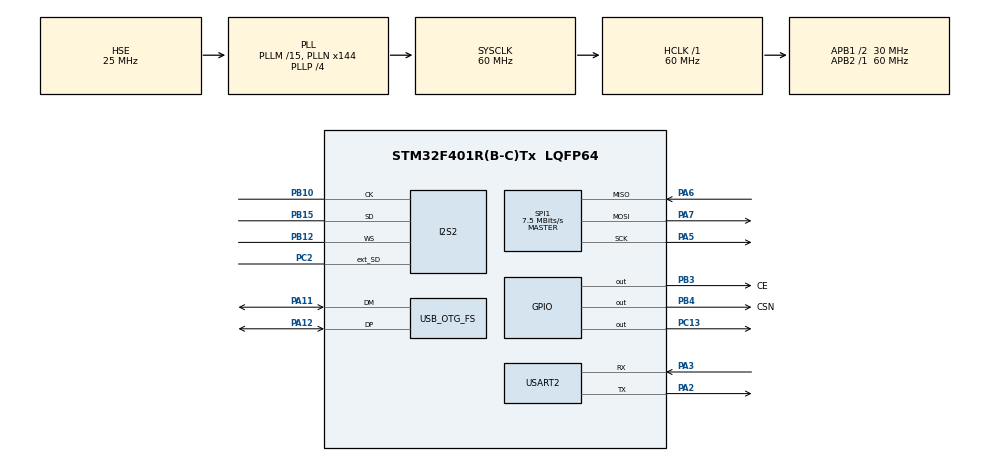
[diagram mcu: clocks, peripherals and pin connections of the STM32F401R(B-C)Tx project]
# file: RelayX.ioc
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Dma.Request0=USART2_TX
Dma.Request1=SPI2_RX
Dma.SPI2_RX.1.Direction=DMA_PERIPH_TO_MEMORY
Dma.SPI2_RX.1.FIFOMode=DMA_FIFOMODE_DISABLE
Dma.SPI2_RX.1.Instance=DMA1_Stream3
Dma.SPI2_RX.1.MemDataAlignment=DMA_MDATAALIGN_WORD
Dma.SPI2_RX.1.MemInc=DMA_MINC_ENABLE
Dma.SPI2_RX.1.Mode=DMA_NORMAL
Dma.SPI2_RX.1.PeriphDataAlignment=DMA_PDATAALIGN_WORD
Dma.SPI2_RX.1.PeriphInc=DMA_PINC_DISABLE
Dma.SPI2_RX.1.Priority=DMA_PRIORITY_LOW
Dma.USART2_TX.0.Direction=DMA_MEMORY_TO_PERIPH
Dma.USART2_TX.0.FIFOMode=DMA_FIFOMODE_DISABLE
Dma.USART2_TX.0.Instance=DMA1_Stream6
Dma.USART2_TX.0.MemDataAlignment=DMA_MDATAALIGN_BYTE
Dma.USART2_TX.0.MemInc=DMA_MINC_ENABLE
Dma.USART2_TX.0.Mode=DMA_NORMAL
Dma.USART2_TX.0.PeriphDataAlignment=DMA_PDATAALIGN_BYTE
Dma.USART2_TX.0.PeriphInc=DMA_PINC_DISABLE
Dma.USART2_TX.0.Priority=DMA_PRIORITY_HIGH
I2S2.AudioFreq=I2S_AUDIOFREQ_11K
I2S2.DataFormat=I2S_DATAFORMAT_24B
I2S2.ErrorAudioFreq=0.11 %
I2S2.FullDuplexMode=I2S_FULLDUPLEXMODE_ENABLE
I2S2.Instance=SPI$Index
I2S2.Mode=I2S_MODE_MASTER_RX
I2S2.RealAudioFreq=11.013 KHz
I2S2.Standard=I2S_STANDARD_PHILIPS
I2S2.VirtualMode=I2S_MODE_MASTER
Mcu.Family=STM32F4
Mcu.Name=STM32F401R(B-C)Tx
Mcu.Package=LQFP64
NVIC.DMA1_Stream3_IRQn=true\:0\:0\:false\:false\:true\:false\:true\:true
NVIC.DMA1_Stream6_IRQn=true\:0\:0\:false\:false\:true\:false\:true\:true
NVIC.OTG_FS_IRQn=true\:0\:0\:false\:false\:true\:false\:true\:true
NVIC.PriorityGroup=NVIC_PRIORITYGROUP_4
NVIC.SPI1_IRQn=true\:0\:0\:false\:false\:true\:true\:true\:true
NVIC.SPI2_IRQn=true\:0\:0\:false\:false\:true\:true\:true\:true
NVIC.USART2_IRQn=true\:0\:0\:false\:false\:true\:true\:true\:true
PA11.Mode=Device_Only
PA11.Signal=USB_OTG_FS_DM
PA12.Mode=Device_Only
PA12.Signal=USB_OTG_FS_DP
PA2.Mode=Asynchronous
PA2.Signal=USART2_TX
PA3.Mode=Asynchronous
PA3.Signal=USART2_RX
PA5.Mode=Full_Duplex_Master
PA5.Signal=SPI1_SCK
PA6.Mode=Full_Duplex_Master
PA6.Signal=SPI1_MISO
PA7.Mode=Full_Duplex_Master
PA7.Signal=SPI1_MOSI
PB10.GPIO_Speed=GPIO_SPEED_FREQ_HIGH
PB10.Mode=Full_Duplex_Master
PB10.Signal=I2S2_CK
PB12.GPIO_Speed=GPIO_SPEED_FREQ_VERY_HIGH
PB12.Mode=Full_Duplex_Master
PB12.Signal=I2S2_WS
PB15.GPIO_Speed=GPIO_SPEED_FREQ_HIGH
PB15.Mode=Full_Duplex_Master
PB15.Signal=I2S2_SD
PB3.GPIO_Label=CE
PB3.GPIO_PuPd=GPIO_NOPULL
PB3.GPIO_Speed=GPIO_SPEED_FREQ_HIGH
PB3.PinState=GPIO_PIN_SET
PB3.Signal=GPIO_Output
PB4.GPIO_Label=CSN
PB4.GPIO_PuPd=GPIO_NOPULL
PB4.GPIO_Speed=GPIO_SPEED_FREQ_HIGH
PB4.Signal=GPIO_Output
PC13-ANTI_TAMP.Signal=GPIO_Output
PC2.Mode=Full_Duplex_Master
PC2.Signal=I2S2_ext_SD
PH0\ -\ OSC_IN.Mode=HSE-External-Oscillator
PH0\ -\ OSC_IN.Signal=RCC_OSC_IN
PH1\ -\ OSC_OUT.Mode=HSE-External-Oscillator
PH1\ -\ OSC_OUT.Signal=RCC_OSC_OUT
ProjectManager.HeapSize=0x200
ProjectManager.StackSize=0x400
ProjectManager.TargetToolchain=STM32CubeIDE
RCC.48MHZClocksFreq_Value=48000000
RCC.AHBFreq_Value=60000000
RCC.APB1CLKDivider=RCC_HCLK_DIV2
RCC.APB1Freq_Value=30000000
RCC.APB1TimFreq_Value=60000000
RCC.APB2Freq_Value=60000000
RCC.APB2TimFreq_Value=60000000
RCC.CortexFreq_Value=60000000
RCC.HCLKFreq_Value=60000000
RCC.HSE_VALUE=25000000
RCC.HSI_VALUE=16000000
RCC.LSE_VALUE=32768
RCC.PLLM=15
RCC.PLLN=144
RCC.PLLP=RCC_PLLP_DIV4
RCC.PLLQ=5
RCC.SYSCLKFreq_VALUE=60000000
RCC.SYSCLKSource=RCC_SYSCLKSOURCE_PLLCLK
RCC.VCOOutputFreq_Value=240000000
SPI1.BaudRatePrescaler=SPI_BAUDRATEPRESCALER_8
SPI1.CRCCalculation=SPI_CRCCALCULATION_DISABLE
SPI1.CalculateBaudRate=7.5 MBits/s
SPI1.Direction=SPI_DIRECTION_2LINES
SPI1.Mode=SPI_MODE_MASTER
SPI1.VirtualType=VM_MASTER
TIM2.Period=59999
TIM2.Prescaler=59
USART2.VirtualMode=VM_ASYNC
USB_DEVICE.CLASS_NAME_FS=CDC
USB_DEVICE.VirtualMode=Cdc
USB_DEVICE.VirtualModeFS=Cdc_FS
USB_OTG_FS.VirtualMode=Device_Only
VP_CRC_VS_CRC.Mode=CRC_Activate
VP_TIM2_VS_ClockSourceINT.Mode=Internal
VP_USB_DEVICE_VS_USB_DEVICE_CDC_FS.Mode=CDC_FS
board=custom

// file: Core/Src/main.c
/* USER CODE BEGIN Header */
/**
 ******************************************************************************
 * @file           : main.c
 * @brief          : Main program body
 ******************************************************************************
 * @attention
 *
 * Copyright (c) 2026 STMicroelectronics.
 * All rights reserved.
 *
 * This software is licensed under terms that can be found in the LICENSE file
 * in the root directory of this software component.
 * If no LICENSE file comes with this software, it is provided AS-IS.
 *
 ******************************************************************************
 */
/* USER CODE END Header */
#include "main.h"
#include "usb_device.h"

/* USER CODE BEGIN PD */
#define BUFFER_SIZE 4
/* USER CODE END PD */

CRC_HandleTypeDef hcrc;

I2S_HandleTypeDef hi2s2;
DMA_HandleTypeDef hdma_spi2_rx;

SPI_HandleTypeDef hspi1;

TIM_HandleTypeDef htim2;

UART_HandleTypeDef huart2;
DMA_HandleTypeDef hdma_usart2_tx;

/* USER CODE BEGIN PV */
uint16_t sound_buffer[BUFFER_SIZE];
uint8_t message[] = "DMA WORKS!!!";
/* USER CODE END PV */

void SystemClock_Config(void);
static void MX_GPIO_Init(void);
static void MX_DMA_Init(void);
static void MX_SPI1_Init(void);
static void MX_USART2_UART_Init(void);
static void MX_TIM2_Init(void);
static void MX_CRC_Init(void);
static void MX_I2S2_Init(void);
/* USER CODE BEGIN PFP */
void Capture_Audio(){
	memset(sound_buffer,0,sizeof(sound_buffer));
	//clear buffer for sound data first
	if (HAL_I2S_Receive_DMA(&hi2s2, (uint16_t *)sound_buffer, 2U) != HAL_OK)
	  {
	    printf("I2S DMA start failed\r\n");
	    return;
	  }	HAL_Delay(100);
	HAL_I2S_DMAStop(&hi2s2);
	printf("0x%08lX\r\n", (uint8_t)((sound_buffer[0]>>8)&0x00FFU));
	printf("0x%08lX\r\n", (uint8_t)((sound_buffer[0])&0x00FFU));
	printf("0x%08lX\r\n", (uint8_t)((sound_buffer[1]>>8)&0x00FFU));
	HAL_Delay(500);
}

/* USER CODE END PFP */

int main(void)
{

  /* MCU Configuration--------------------------------------------------------*/

  /* Reset of all peripherals, Initializes the Flash interface and the Systick. */
  HAL_Init();

  /* Configure the system clock */
  SystemClock_Config();

  /* Initialize all configured peripherals */
  MX_GPIO_Init();
  MX_DMA_Init();
  MX_USB_DEVICE_Init();
  MX_SPI1_Init();
  MX_USART2_UART_Init();
  MX_TIM2_Init();
  MX_CRC_Init();
  MX_I2S2_Init();
  /* USER CODE BEGIN 2 */
	Capture_Audio();
  /* USER CODE END 2 */

  /* Infinite loop */
	while (1) {

	}
}

void SystemClock_Config(void)
{
  RCC_OscInitTypeDef RCC_OscInitStruct = {0};
  RCC_ClkInitTypeDef RCC_ClkInitStruct = {0};

  /** Configure the main internal regulator output voltage
  */
  __HAL_RCC_PWR_CLK_ENABLE();
  __HAL_PWR_VOLTAGESCALING_CONFIG(PWR_REGULATOR_VOLTAGE_SCALE2);

  /** Initializes the RCC Oscillators according to the specified parameters
  * in the RCC_OscInitTypeDef structure.
  */
  RCC_OscInitStruct.OscillatorType = RCC_OSCILLATORTYPE_HSE;
  RCC_OscInitStruct.HSEState = RCC_HSE_ON;
  RCC_OscInitStruct.PLL.PLLState = RCC_PLL_ON;
  RCC_OscInitStruct.PLL.PLLSource = RCC_PLLSOURCE_HSE;
  RCC_OscInitStruct.PLL.PLLM = 15;
  RCC_OscInitStruct.PLL.PLLN = 144;
  RCC_OscInitStruct.PLL.PLLP = RCC_PLLP_DIV4;
  RCC_OscInitStruct.PLL.PLLQ = 5;
  if (HAL_RCC_OscConfig(&RCC_OscInitStruct) != HAL_OK)
  {
    Error_Handler();
  }

  /** Initializes the CPU, AHB and APB buses clocks
  */
  RCC_ClkInitStruct.ClockType = RCC_CLOCKTYPE_HCLK|RCC_CLOCKTYPE_SYSCLK
                              |RCC_CLOCKTYPE_PCLK1|RCC_CLOCKTYPE_PCLK2;
  RCC_ClkInitStruct.SYSCLKSource = RCC_SYSCLKSOURCE_PLLCLK;
  RCC_ClkInitStruct.AHBCLKDivider = RCC_SYSCLK_DIV1;
  RCC_ClkInitStruct.APB1CLKDivider = RCC_HCLK_DIV2;
  RCC_ClkInitStruct.APB2CLKDivider = RCC_HCLK_DIV1;

  if (HAL_RCC_ClockConfig(&RCC_ClkInitStruct, FLASH_LATENCY_1) != HAL_OK)
  {
    Error_Handler();
  }
}

static void MX_CRC_Init(void)
{

  hcrc.Instance = CRC;
  if (HAL_CRC_Init(&hcrc) != HAL_OK)
  {
    Error_Handler();
  }

}

static void MX_I2S2_Init(void)
{

  hi2s2.Instance = SPI2;
  hi2s2.Init.Mode = I2S_MODE_MASTER_RX;
  hi2s2.Init.Standard = I2S_STANDARD_PHILIPS;
  hi2s2.Init.DataFormat = I2S_DATAFORMAT_24B;
  hi2s2.Init.MCLKOutput = I2S_MCLKOUTPUT_DISABLE;
  hi2s2.Init.AudioFreq = I2S_AUDIOFREQ_11K;
  hi2s2.Init.CPOL = I2S_CPOL_LOW;
  hi2s2.Init.ClockSource = I2S_CLOCK_PLL;
  hi2s2.Init.FullDuplexMode = I2S_FULLDUPLEXMODE_ENABLE;
  if (HAL_I2S_Init(&hi2s2) != HAL_OK)
  {
    Error_Handler();
  }

}

static void MX_SPI1_Init(void)
{

  /* SPI1 parameter configuration*/
  hspi1.Instance = SPI1;
  hspi1.Init.Mode = SPI_MODE_MASTER;
  hspi1.Init.Direction = SPI_DIRECTION_2LINES;
  hspi1.Init.DataSize = SPI_DATASIZE_8BIT;
  hspi1.Init.CLKPolarity = SPI_POLARITY_LOW;
  hspi1.Init.CLKPhase = SPI_PHASE_1EDGE;
  hspi1.Init.NSS = SPI_NSS_SOFT;
  hspi1.Init.BaudRatePrescaler = SPI_BAUDRATEPRESCALER_8;
  hspi1.Init.FirstBit = SPI_FIRSTBIT_MSB;
  hspi1.Init.TIMode = SPI_TIMODE_DISABLE;
  hspi1.Init.CRCCalculation = SPI_CRCCALCULATION_DISABLE;
  hspi1.Init.CRCPolynomial = 10;
  if (HAL_SPI_Init(&hspi1) != HAL_OK)
  {
    Error_Handler();
  }

}

static void MX_TIM2_Init(void)
{

  TIM_ClockConfigTypeDef sClockSourceConfig = {0};
  TIM_MasterConfigTypeDef sMasterConfig = {0};

  htim2.Instance = TIM2;
  htim2.Init.Prescaler = 59;
  htim2.Init.CounterMode = TIM_COUNTERMODE_UP;
  htim2.Init.Period = 59999;
  htim2.Init.ClockDivision = TIM_CLOCKDIVISION_DIV1;
  htim2.Init.AutoReloadPreload = TIM_AUTORELOAD_PRELOAD_DISABLE;
  if (HAL_TIM_Base_Init(&htim2) != HAL_OK)
  {
    Error_Handler();
  }
  sClockSourceConfig.ClockSource = TIM_CLOCKSOURCE_INTERNAL;
  if (HAL_TIM_ConfigClockSource(&htim2, &sClockSourceConfig) != HAL_OK)
  {
    Error_Handler();
  }
  sMasterConfig.MasterOutputTrigger = TIM_TRGO_RESET;
  sMasterConfig.MasterSlaveMode = TIM_MASTERSLAVEMODE_DISABLE;
  if (HAL_TIMEx_MasterConfigSynchronization(&htim2, &sMasterConfig) != HAL_OK)
  {
    Error_Handler();
  }

}

static void MX_USART2_UART_Init(void)
{

  huart2.Instance = USART2;
  huart2.Init.BaudRate = 115200;
  huart2.Init.WordLength = UART_WORDLENGTH_8B;
  huart2.Init.StopBits = UART_STOPBITS_1;
  huart2.Init.Parity = UART_PARITY_NONE;
  huart2.Init.Mode = UART_MODE_TX_RX;
  huart2.Init.HwFlowCtl = UART_HWCONTROL_NONE;
  huart2.Init.OverSampling = UART_OVERSAMPLING_16;
  if (HAL_UART_Init(&huart2) != HAL_OK)
  {
    Error_Handler();
  }

}

static void MX_DMA_Init(void)
{

  /* DMA controller clock enable */
  __HAL_RCC_DMA1_CLK_ENABLE();

  /* DMA interrupt init */
  /* DMA1_Stream3_IRQn interrupt configuration */
  HAL_NVIC_SetPriority(DMA1_Stream3_IRQn, 0, 0);
  HAL_NVIC_EnableIRQ(DMA1_Stream3_IRQn);
  /* DMA1_Stream6_IRQn interrupt configuration */
  HAL_NVIC_SetPriority(DMA1_Stream6_IRQn, 0, 0);
  HAL_NVIC_EnableIRQ(DMA1_Stream6_IRQn);

}

static void MX_GPIO_Init(void)
{
  GPIO_InitTypeDef GPIO_InitStruct = {0};

  /* GPIO Ports Clock Enable */
  __HAL_RCC_GPIOC_CLK_ENABLE();
  __HAL_RCC_GPIOH_CLK_ENABLE();
  __HAL_RCC_GPIOA_CLK_ENABLE();
  __HAL_RCC_GPIOB_CLK_ENABLE();

  /*Configure GPIO pin Output Level */
  HAL_GPIO_WritePin(GPIOC, GPIO_PIN_13, GPIO_PIN_RESET);

  /*Configure GPIO pin Output Level */
  HAL_GPIO_WritePin(CE_GPIO_Port, CE_Pin, GPIO_PIN_SET);

  /*Configure GPIO pin Output Level */
  HAL_GPIO_WritePin(CSN_GPIO_Port, CSN_Pin, GPIO_PIN_RESET);

  /*Configure GPIO pin : PC13 */
  GPIO_InitStruct.Pin = GPIO_PIN_13;
  GPIO_InitStruct.Mode = GPIO_MODE_OUTPUT_PP;
  GPIO_InitStruct.Pull = GPIO_NOPULL;
  GPIO_InitStruct.Speed = GPIO_SPEED_FREQ_LOW;
  HAL_GPIO_Init(GPIOC, &GPIO_InitStruct);

  /*Configure GPIO pins : CE_Pin CSN_Pin */
  GPIO_InitStruct.Pin = CE_Pin|CSN_Pin;
  GPIO_InitStruct.Mode = GPIO_MODE_OUTPUT_PP;
  GPIO_InitStruct.Pull = GPIO_NOPULL;
  GPIO_InitStruct.Speed = GPIO_SPEED_FREQ_HIGH;
  HAL_GPIO_Init(GPIOB, &GPIO_InitStruct);

}

/* USER CODE BEGIN 4 */
int __io_putchar(char ch) {
	HAL_UART_Transmit(&huart2, (uint8_t*)&ch,1,HAL_MAX_DELAY);
	return ch;
}

/* USER CODE END 4 */

void Error_Handler(void)
{
	__disable_irq();
	while (1) {
	}
}
